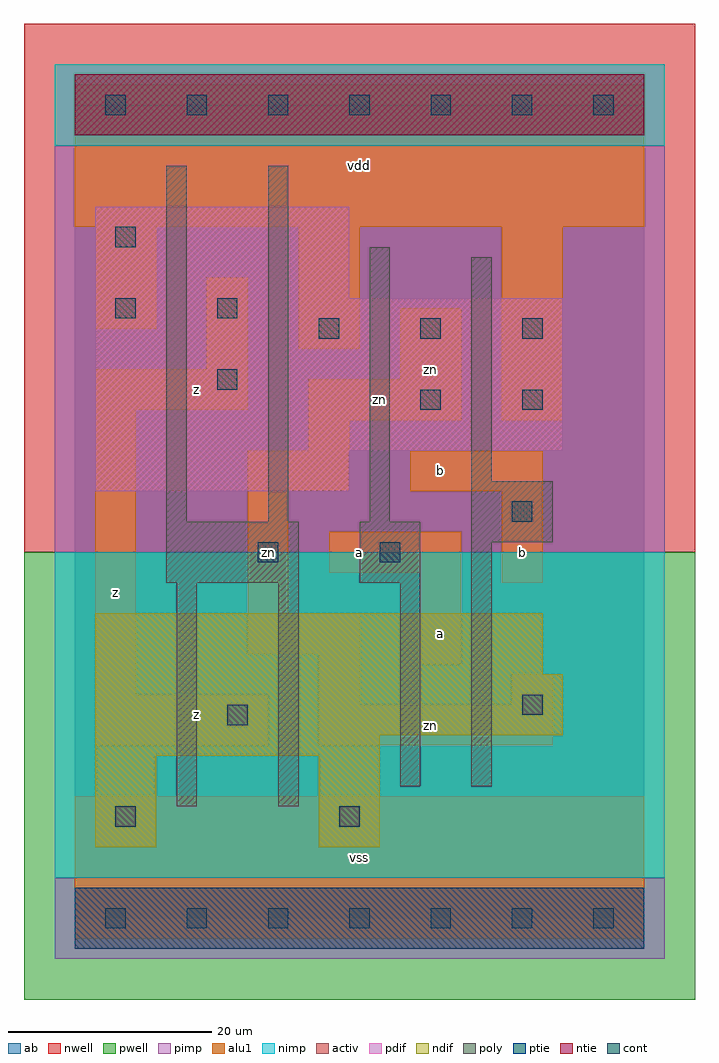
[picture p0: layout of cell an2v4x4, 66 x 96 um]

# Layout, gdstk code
import gdstk
lib = gdstk.Library(unit=1e-6, precision=1e-09)
def R(c, l, rs):  # rectangles x0, y0, x1, y1
    for r in rs: c.add(gdstk.rectangle(r[:2], r[2:], *l))
def A(c, l, x, y, w, h, nx, ny, dx, dy):  # array of equal rectangles
    R(c, l, [(x+i*dx, y+j*dy, x+i*dx+w, y+j*dy+h) for i in range(nx) for j in range(ny)])
ndif = (3, 0)
pdif = (4, 0)
ntie = (5, 0)
ptie = (6, 0)
cont = (25, 0)
pwell = (41, 0)
nwell = (42, 0)
activ = (43, 0)
pimp = (44, 0)
nimp = (45, 0)
poly = (46, 0)
alu1 = (49, 0)
ab = (63, 0)

an2v4x4 = lib.new_cell('an2v4x4')
R(an2v4x4, ndif, [(2,7,8,16), (24,7,30,16), (2,16,30,18), (2,18,48,24), (2,24,46,30)])
R(an2v4x4, pdif, [(2,42,27,46), (2,46,48,61), (2,61,27,70)])
R(an2v4x4, ntie, [(0,77,56,83)])
R(an2v4x4, ptie, [(0,-3,56,3)])
A(an2v4x4, cont, 3, -1, 2, 2, 7, 2, 8, 80)
A(an2v4x4, cont, 24, 57, 2, 2, 3, 1, 10, 0)
R(an2v4x4, cont, [(4,9,6,11), (26,9,28,11), (15,19,17,21), (44,20,46,22), (18,35,20,37), (30,35,32,37), (43,39,45,41), (34,50,36,52), (44,50,46,52), (14,52,16,54), (4,59,6,61), (14,59,16,61), (4,66,6,68)])
R(an2v4x4, pwell, [(-5,-8,61,36)])
R(an2v4x4, nwell, [(-5,36,61,88)])
R(an2v4x4, activ, [(0,-3,56,3), (2,7,8,16), (24,7,30,16), (2,16,30,18), (2,18,48,24), (2,24,46,30), (2,42,27,46), (2,46,48,61), (2,61,27,70), (0,77,56,83)])
R(an2v4x4, pimp, [(-2,-4,58,4), (-2,36,58,76)])
R(an2v4x4, nimp, [(-2,4,58,36), (-2,76,58,84)])
R(an2v4x4, poly, [(10,11,12,33), (20,11,22,33), (32,13,34,33), (39,13,41,37), (9,33,22,39), (28,33,34,39), (39,37,47,43), (9,39,11,74), (19,39,21,74), (29,39,31,66), (39,43,41,65)])
R(an2v4x4, alu1, [(0,-2,56,12), (2,17,19,22), (24,17,47,21), (24,21,28,26), (43,21,47,24), (2,22,6,50), (34,25,38,34), (17,26,28,30), (17,30,21,42), (42,33,46,42), (25,34,38,38), (17,42,27,46), (33,42,46,46), (23,46,27,49), (23,49,38,53), (42,49,48,68), (2,50,17,54), (32,53,38,60), (13,54,17,63), (22,56,28,68), (2,58,8,68), (0,68,56,82)])
R(an2v4x4, ab, [(0,0,56,80)])
an2v4x4.add(gdstk.Label('zn', (19,36), layer=49, texttype=0))
an2v4x4.add(gdstk.Label('zn', (30,51), layer=49, texttype=0))
an2v4x4.add(gdstk.Label('zn', (35,54), layer=49, texttype=0))
an2v4x4.add(gdstk.Label('zn', (35,19), layer=49, texttype=0))
an2v4x4.add(gdstk.Label('z', (4,32), layer=49, texttype=0))
an2v4x4.add(gdstk.Label('z', (12,20), layer=49, texttype=0))
an2v4x4.add(gdstk.Label('z', (12,52), layer=49, texttype=0))
an2v4x4.add(gdstk.Label('vss', (28,6), layer=49, texttype=0))
an2v4x4.add(gdstk.Label('a', (28,36), layer=49, texttype=0))
an2v4x4.add(gdstk.Label('a', (36,28), layer=49, texttype=0))
an2v4x4.add(gdstk.Label('b', (36,44), layer=49, texttype=0))
an2v4x4.add(gdstk.Label('vdd', (28,74), layer=49, texttype=0))
an2v4x4.add(gdstk.Label('b', (44,36), layer=49, texttype=0))

lib.write_gds('an2v4x4.gds')
